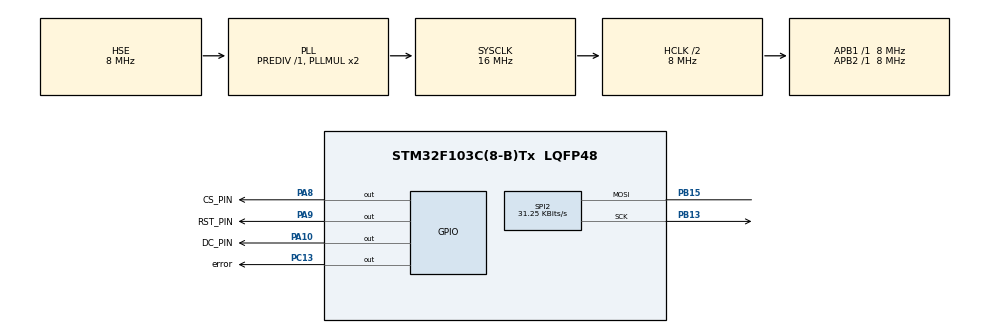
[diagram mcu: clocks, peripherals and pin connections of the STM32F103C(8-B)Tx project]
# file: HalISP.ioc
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Mcu.Family=STM32F1
Mcu.Name=STM32F103C(8-B)Tx
Mcu.Package=LQFP48
NVIC.PriorityGroup=NVIC_PRIORITYGROUP_4
PA10.GPIO_Label=DC_PIN
PA10.Signal=GPIO_Output
PA13.Mode=Serial_Wire
PA13.Signal=SYS_JTMS-SWDIO
PA14.Mode=Serial_Wire
PA14.Signal=SYS_JTCK-SWCLK
PA8.GPIO_Label=CS_PIN
PA8.Signal=GPIO_Output
PA9.GPIO_Label=RST_PIN
PA9.PinState=GPIO_PIN_SET
PA9.Signal=GPIO_Output
PB13.Mode=Simplex_Bidirectional_Master
PB13.Signal=SPI2_SCK
PB15.Mode=Simplex_Bidirectional_Master
PB15.Signal=SPI2_MOSI
PC13-TAMPER-RTC.GPIO_Label=error
PC13-TAMPER-RTC.Signal=GPIO_Output
PD0-OSC_IN.Mode=HSE-External-Oscillator
PD0-OSC_IN.Signal=RCC_OSC_IN
PD1-OSC_OUT.Mode=HSE-External-Oscillator
PD1-OSC_OUT.Signal=RCC_OSC_OUT
ProjectManager.HeapSize=0x200
ProjectManager.StackSize=0x400
ProjectManager.TargetToolchain=Makefile
RCC.AHBCLKDivider=RCC_SYSCLK_DIV2
RCC.AHBFreq_Value=8000000
RCC.APB1Freq_Value=8000000
RCC.APB1TimFreq_Value=8000000
RCC.APB2Freq_Value=8000000
RCC.APB2TimFreq_Value=8000000
RCC.HCLKFreq_Value=8000000
RCC.PLLSourceVirtual=RCC_PLLSOURCE_HSE
RCC.SYSCLKFreq_VALUE=16000000
RCC.SYSCLKSource=RCC_SYSCLKSOURCE_PLLCLK
RCC.USBFreq_Value=16000000
SPI2.BaudRatePrescaler=SPI_BAUDRATEPRESCALER_256
SPI2.CalculateBaudRate=31.25 KBits/s
SPI2.Direction=SPI_DIRECTION_1LINE
SPI2.Mode=SPI_MODE_MASTER
SPI2.VirtualType=VM_MASTER
board=custom

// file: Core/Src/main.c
/* USER CODE BEGIN Header */
/**
  ******************************************************************************
  * @file           : main.c
  * @brief          : Main program body
  ******************************************************************************
  * @attention
  *
  * Copyright (c) 2022 STMicroelectronics.
  * All rights reserved.
  *
  * This software is licensed under terms that can be found in the LICENSE file
  * in the root directory of this software component.
  * If no LICENSE file comes with this software, it is provided AS-IS.
  *
  ******************************************************************************
  */
/* USER CODE END Header */
#include "main.h"

/* USER CODE BEGIN Includes */
#include "ili9163.h"
/* USER CODE END Includes */

 SPI_HandleTypeDef hspi2;

/* USER CODE BEGIN PV */
struct ili9163 disp;

/* USER CODE END PV */

void SystemClock_Config(void);
static void MX_GPIO_Init(void);
static void MX_SPI2_Init(void);

int main(void)
{

  /* MCU Configuration--------------------------------------------------------*/

  /* Reset of all peripherals, Initializes the Flash interface and the Systick. */
  HAL_Init();

  /* Configure the system clock */
  SystemClock_Config();

  /* USER CODE BEGIN SysInit */
  // initializing display
  /* USER CODE END SysInit */

  /* Initialize all configured peripherals */
  MX_GPIO_Init();
  MX_SPI2_Init();
  /* USER CODE BEGIN 2 */
  HAL_GPIO_TogglePin(error_GPIO_Port,error_Pin); //Toggle LED
  disp.spiHand =  hspi2;
  disp.cs_port =  CS_PIN_GPIO_Port;
  disp.dc_port =  DC_PIN_GPIO_Port;
  disp.rst_port = RST_PIN_GPIO_Port;
  disp.cs_pin =  CS_PIN_Pin;
  disp.dc_pin =  DC_PIN_Pin;
  disp.rst_pin =  RST_PIN_Pin;
  initDisp();

  uint8_t displayBuffer[BUFSIZE];

  uint8_t redshift = 0 << 2;
  uint8_t blueshift = 0  << 2;
  uint8_t greenshift = 63 << 2;
  displayBuffer[0] = redshift;
  for ( int i = 1 ; i<BUFSIZE; i++)
  {
      int mod = i % 3;

      if ( mod == 0 ) {
        displayBuffer[i]=redshift;
      }
      else if ( mod  == 1 ){
        displayBuffer[i]=greenshift;
      }
      else {
        displayBuffer[i]=blueshift;
      }
  }
//  writeSpiDataBuffer(displayBuffer,BUFSIZE);

  /* USER CODE END 2 */

  /* Infinite loop */
  /* USER CODE BEGIN WHILE */
  while (1)
  {
    HAL_GPIO_TogglePin(error_GPIO_Port,error_Pin); //Toggle LED
    HAL_Delay(25); //Delay 1 Seconds
    writeSpiDataBuffer(displayBuffer,BUFSIZE);

    //writeSpiData(0xFF);

    /* USER CODE END WHILE */

  }
}

void SystemClock_Config(void)
{
  RCC_OscInitTypeDef RCC_OscInitStruct = {0};
  RCC_ClkInitTypeDef RCC_ClkInitStruct = {0};

  /** Initializes the RCC Oscillators according to the specified parameters
  * in the RCC_OscInitTypeDef structure.
  */
  RCC_OscInitStruct.OscillatorType = RCC_OSCILLATORTYPE_HSE;
  RCC_OscInitStruct.HSEState = RCC_HSE_ON;
  RCC_OscInitStruct.HSEPredivValue = RCC_HSE_PREDIV_DIV1;
  RCC_OscInitStruct.HSIState = RCC_HSI_ON;
  RCC_OscInitStruct.PLL.PLLState = RCC_PLL_ON;
  RCC_OscInitStruct.PLL.PLLSource = RCC_PLLSOURCE_HSE;
  RCC_OscInitStruct.PLL.PLLMUL = RCC_PLL_MUL2;
  if (HAL_RCC_OscConfig(&RCC_OscInitStruct) != HAL_OK)
  {
    Error_Handler();
  }

  /** Initializes the CPU, AHB and APB buses clocks
  */
  RCC_ClkInitStruct.ClockType = RCC_CLOCKTYPE_HCLK|RCC_CLOCKTYPE_SYSCLK
                              |RCC_CLOCKTYPE_PCLK1|RCC_CLOCKTYPE_PCLK2;
  RCC_ClkInitStruct.SYSCLKSource = RCC_SYSCLKSOURCE_PLLCLK;
  RCC_ClkInitStruct.AHBCLKDivider = RCC_SYSCLK_DIV2;
  RCC_ClkInitStruct.APB1CLKDivider = RCC_HCLK_DIV1;
  RCC_ClkInitStruct.APB2CLKDivider = RCC_HCLK_DIV1;

  if (HAL_RCC_ClockConfig(&RCC_ClkInitStruct, FLASH_LATENCY_0) != HAL_OK)
  {
    Error_Handler();
  }
}

static void MX_SPI2_Init(void)
{

  /* SPI2 parameter configuration*/
  hspi2.Instance = SPI2;
  hspi2.Init.Mode = SPI_MODE_MASTER;
  hspi2.Init.Direction = SPI_DIRECTION_1LINE;
  hspi2.Init.DataSize = SPI_DATASIZE_8BIT;
  hspi2.Init.CLKPolarity = SPI_POLARITY_LOW;
  hspi2.Init.CLKPhase = SPI_PHASE_1EDGE;
  hspi2.Init.NSS = SPI_NSS_SOFT;
  hspi2.Init.BaudRatePrescaler = SPI_BAUDRATEPRESCALER_256;
  hspi2.Init.FirstBit = SPI_FIRSTBIT_MSB;
  hspi2.Init.TIMode = SPI_TIMODE_DISABLE;
  hspi2.Init.CRCCalculation = SPI_CRCCALCULATION_DISABLE;
  hspi2.Init.CRCPolynomial = 10;
  if (HAL_SPI_Init(&hspi2) != HAL_OK)
  {
    Error_Handler();
  }

}

static void MX_GPIO_Init(void)
{
  GPIO_InitTypeDef GPIO_InitStruct = {0};

  /* GPIO Ports Clock Enable */
  __HAL_RCC_GPIOC_CLK_ENABLE();
  __HAL_RCC_GPIOD_CLK_ENABLE();
  __HAL_RCC_GPIOB_CLK_ENABLE();
  __HAL_RCC_GPIOA_CLK_ENABLE();

  /*Configure GPIO pin Output Level */
  HAL_GPIO_WritePin(error_GPIO_Port, error_Pin, GPIO_PIN_RESET);

  /*Configure GPIO pin Output Level */
  HAL_GPIO_WritePin(GPIOA, CS_PIN_Pin|DC_PIN_Pin, GPIO_PIN_RESET);

  /*Configure GPIO pin Output Level */
  HAL_GPIO_WritePin(RST_PIN_GPIO_Port, RST_PIN_Pin, GPIO_PIN_SET);

  /*Configure GPIO pin : error_Pin */
  GPIO_InitStruct.Pin = error_Pin;
  GPIO_InitStruct.Mode = GPIO_MODE_OUTPUT_PP;
  GPIO_InitStruct.Pull = GPIO_NOPULL;
  GPIO_InitStruct.Speed = GPIO_SPEED_FREQ_LOW;
  HAL_GPIO_Init(error_GPIO_Port, &GPIO_InitStruct);

  /*Configure GPIO pins : CS_PIN_Pin RST_PIN_Pin DC_PIN_Pin */
  GPIO_InitStruct.Pin = CS_PIN_Pin|RST_PIN_Pin|DC_PIN_Pin;
  GPIO_InitStruct.Mode = GPIO_MODE_OUTPUT_PP;
  GPIO_InitStruct.Pull = GPIO_NOPULL;
  GPIO_InitStruct.Speed = GPIO_SPEED_FREQ_LOW;
  HAL_GPIO_Init(GPIOA, &GPIO_InitStruct);

}

void Error_Handler(void)
{
  __disable_irq();
  while (1)
  {
  }
}
